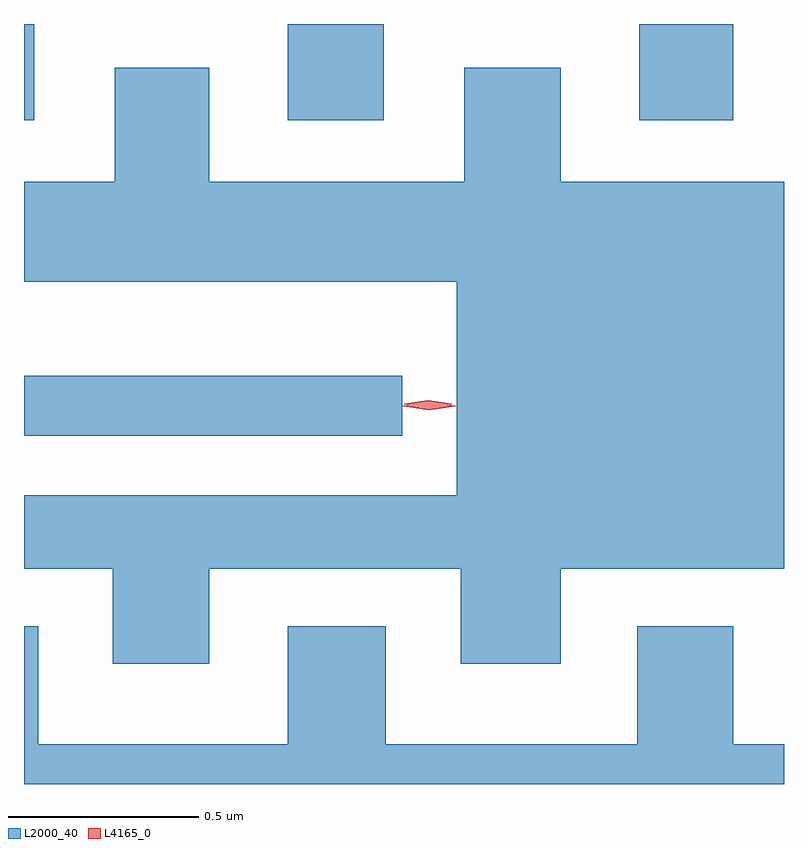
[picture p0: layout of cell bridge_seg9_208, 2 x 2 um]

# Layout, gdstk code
import gdstk
lib = gdstk.Library(unit=1e-6, precision=1e-09)
def R(c, l, rs):  # rectangles x0, y0, x1, y1
    for r in rs: c.add(gdstk.rectangle(r[:2], r[2:], *l))
def P(c, l, *ps):  # polygons
    for p in ps: c.add(gdstk.Polygon(p, *l))
L2000_40 = (2000, 40)
L4165_0 = (4165, 0)

bridge_seg9_208 = lib.new_cell('bridge_seg9_208')
R(bridge_seg9_208, L2000_40, [(1278.872,1988.456,1279.868,1988.614), (1278.872,1989.286,1278.899,1989.539), (1279.566,1989.286,1279.819,1989.539), (1280.491,1989.286,1280.739,1989.539)])
P(bridge_seg9_208, L2000_40, [(1279.359,1988.106),(1280.021,1988.106),(1280.021,1987.856),(1280.284,1987.856),(1280.284,1988.106),(1280.872,1988.106),(1280.872,1989.124),(1280.284,1989.124),(1280.284,1989.424),(1280.031,1989.424),(1280.031,1989.124),(1279.359,1989.124),(1279.359,1989.424),(1279.111,1989.424),(1279.111,1989.124),(1278.872,1989.124),(1278.872,1988.861),(1280.011,1988.861),(1280.011,1988.299),(1278.872,1988.299),(1278.872,1988.106),(1279.106,1988.106),(1279.106,1987.856),(1279.359,1987.856)],
  [(1280.872,1987.644),(1280.739,1987.644),(1280.739,1987.954),(1280.486,1987.954),(1280.486,1987.644),(1279.824,1987.644),(1279.824,1987.954),(1279.566,1987.954),(1279.566,1987.644),(1278.909,1987.644),(1278.909,1987.954),(1278.872,1987.954),(1278.872,1987.539),(1280.872,1987.539)])
P(bridge_seg9_208, L4165_0, [(1279.936,1988.529),(1279.873,1988.539),(1279.873,1988.539),(1279.873,1988.54),(1279.936,1988.549),(1279.997,1988.54),(1279.998,1988.54),(1279.997,1988.539)],
  [(1279.939,1988.523),(1279.87,1988.533),(1279.869,1988.533),(1279.87,1988.534),(1279.939,1988.543),(1280.007,1988.534),(1280.008,1988.533),(1280.007,1988.533)])

lib.write_gds('bridge_seg9_208.gds')
